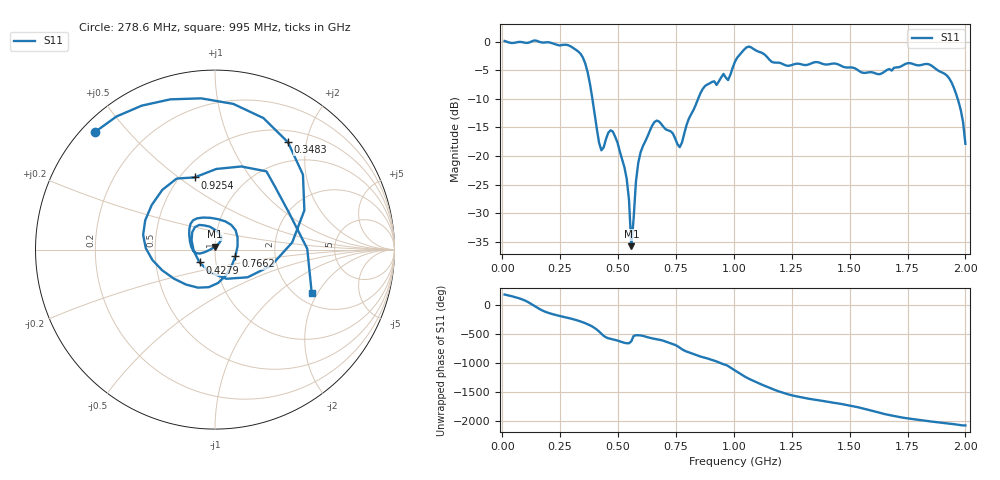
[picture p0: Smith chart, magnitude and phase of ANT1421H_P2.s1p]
!Created with skrf (http://scikit-rf.org).
# Hz S RI R 50.0
!freq ReS11 ImS11
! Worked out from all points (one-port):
!   201 points, 10 MHz to 2 GHz, reference 50 ohm
!   lowest |S11| = -35.8 dB at 557.2 MHz (marker M1), VSWR 1.03, Z = 50 + j1.63 ohm
!   |S11| at or under -10 dB: 389.1 MHz to 845.8 MHz (456.7 MHz wide, 74 % of centre); 1.967 GHz to end of sweep
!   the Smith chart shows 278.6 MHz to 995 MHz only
!   S11 on the Smith chart (normalised r, x): 278.6 MHz: 0.04, +0.41; 348.3 MHz: 0.67, +1.68; 427.9 MHz: 0.83, -0.12; 766.2 MHz: 1.25, -0.09; 925.4 MHz: 0.59, +0.57; 995 MHz: 2.40, -1.79
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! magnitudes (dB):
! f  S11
! 10 MHz  0.1
! 258.8 MHz  -0.6
! 278.6 MHz  -0.6
! 348.3 MHz  -2.8
! 378.1 MHz  -7.3
! 427.9 MHz  -19.0
! 467.7 MHz  -15.5
! 507.5 MHz  -19.2
! 537.4 MHz  -24.0
! 547.3 MHz  -27.7
! 557.2 MHz  -35.8
! 577.1 MHz  -24.5
! 587.1 MHz  -21.2
! 646.8 MHz  -14.7
! 676.6 MHz  -14.0
! 756.2 MHz  -17.9
! 766.2 MHz  -18.4
! 865.7 MHz  -8.3
! 925.4 MHz  -7.6
! 995 MHz  -4.6
! 1.005 GHz  -3.5
! 1.065 GHz  -0.9
! 1.254 GHz  -4.0
! 1.502 GHz  -4.5
! 1.751 GHz  -3.8
! 1.93 GHz  -6.4
! 1.98 GHz  -12.0
! 2 GHz  -17.9
